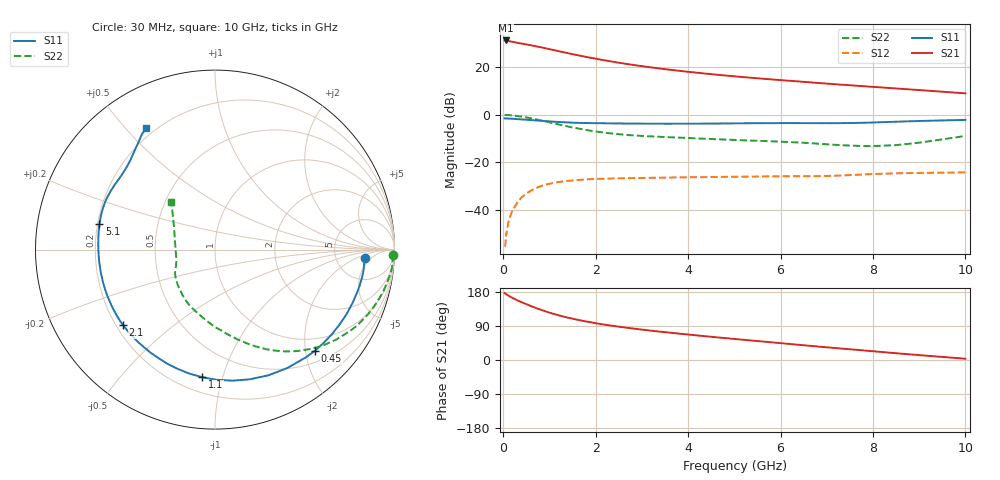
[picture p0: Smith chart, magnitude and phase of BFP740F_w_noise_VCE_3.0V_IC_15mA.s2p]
! Infineon Technologies  Discrete & RF Semiconductors
! BFP740F
! VCE =  3.0 V,  IC =  15 mA
! Common Emitter S-Parameters:  Oct 2012
# GHz  S  MA  R  50
!  f  S11  S21  S12  S22
! GHz  MAG  ANG  MAG  ANG  MAG  ANG  MAG  ANG
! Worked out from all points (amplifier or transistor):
!   99 points, 30 MHz to 10 GHz, reference 50 ohm
!   highest |S21| = 31.3 dB at 50 MHz (marker M1)
!   |S21| within 3 dB of that: start of sweep to 845.2 MHz
!   unconditionally stable (mu >= 1): 6.23 GHz to end of sweep
!   at 350 MHz: K = 0.12, MSG = 33.0 dB, |S12| = -35.9 dB
!   at 3.5 GHz: K = 0.60, MSG = 22.9 dB, |S12| = -26.5 dB
!   at 10 GHz: K = 1.23, MAG = 13.8 dB, |S12| = -24.3 dB
!   lowest NFmin = 0.53 dB at 450 MHz
!   S11 on the Smith chart (normalised r, x): 30 MHz: 10, -3; 450 MHz: 0.73, -2.20; 1.1 GHz: 0.30, -0.86; 2.1 GHz: 0.23, -0.34; 5.1 GHz: 0.21, +0.11; 10 GHz: 0.17, +0.57
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0.03  0.8389 -3.1  36.68 176.4  0.0017 83.3  0.9923 -1.7
0.05  0.8348 -5.2  36.82 174.9  0.002 103.9  0.9919 -3.2
0.12  0.8312 -12.9  35.76 169.3  0.0058 84.8  0.9849 -8.3
0.2  0.822 -21.2  34.46 163.8  0.0097 79.3  0.9673 -13.5
0.3  0.8097 -31.1  32.99 157.8  0.0139 74.2  0.9416 -19.6
0.45  0.7926 -45.2  30.98 149.8  0.02 67.4  0.8966 -28.3
0.6  0.7731 -58.7  29.11 142.3  0.0252 60.3  0.8425 -36.4
0.8  0.7481 -75.1  26.64 133.1  0.031 52.5  0.7674 -46.2
1  0.7253 -89.4  24.17 125.0  0.0351 46.0  0.6929 -55.0
1.1  0.7145 -95.8  23.01 121.4  0.0368 43.2  0.6572 -59.0
1.2  0.7051 -101.9  21.89 117.9  0.0382 40.6  0.6248 -62.7
1.4  0.6892 -112.6  19.86 111.8  0.0405 36.3  0.5666 -69.5
1.7  0.6723 -126.2  17.28 103.9  0.0428 31.3  0.4958 -78.5
2.1  0.6637 -140.5  14.59 95.0  0.0447 26.1  0.4313 -90.0
2.4  0.6571 -148.8  12.97 89.6  0.0455 23.8  0.3983 -96.9
2.7  0.6531 -155.8  11.66 84.7  0.0462 21.6  0.3747 -102.8
3.4  0.6486 -169.0  9.409 74.7  0.0472 18.7  0.3428 -114.0
4.2  0.6498 179.2  7.678 64.8  0.0482 16.6  0.317 -123.2
5.1  0.6597 167.4  6.335 54.5  0.0495 15.4  0.2922 -133.4
6.7  0.6653 148.3  4.769 36.8  0.0507 14.8  0.2502 -152.3
8.5  0.7135 128.6  3.586 17.9  0.0583 14.3  0.229 167.3
10  0.7782 119.5  2.828 3.4  0.0609 10.6  0.3579 132.7
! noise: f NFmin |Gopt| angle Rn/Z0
0.45  0.53  0.1  7  0.57
0.9  0.59  0.1  17  0.24
1.5  0.65  0.1  30  0.04
1.9  0.7  0.1  43  0.03
2.4  0.74  0.1  60  0.03
3.5  0.85  0.09  78  0.13
5.5  1.03  0.07  170  0.18
10  1.4  0.38  -111  0.12
